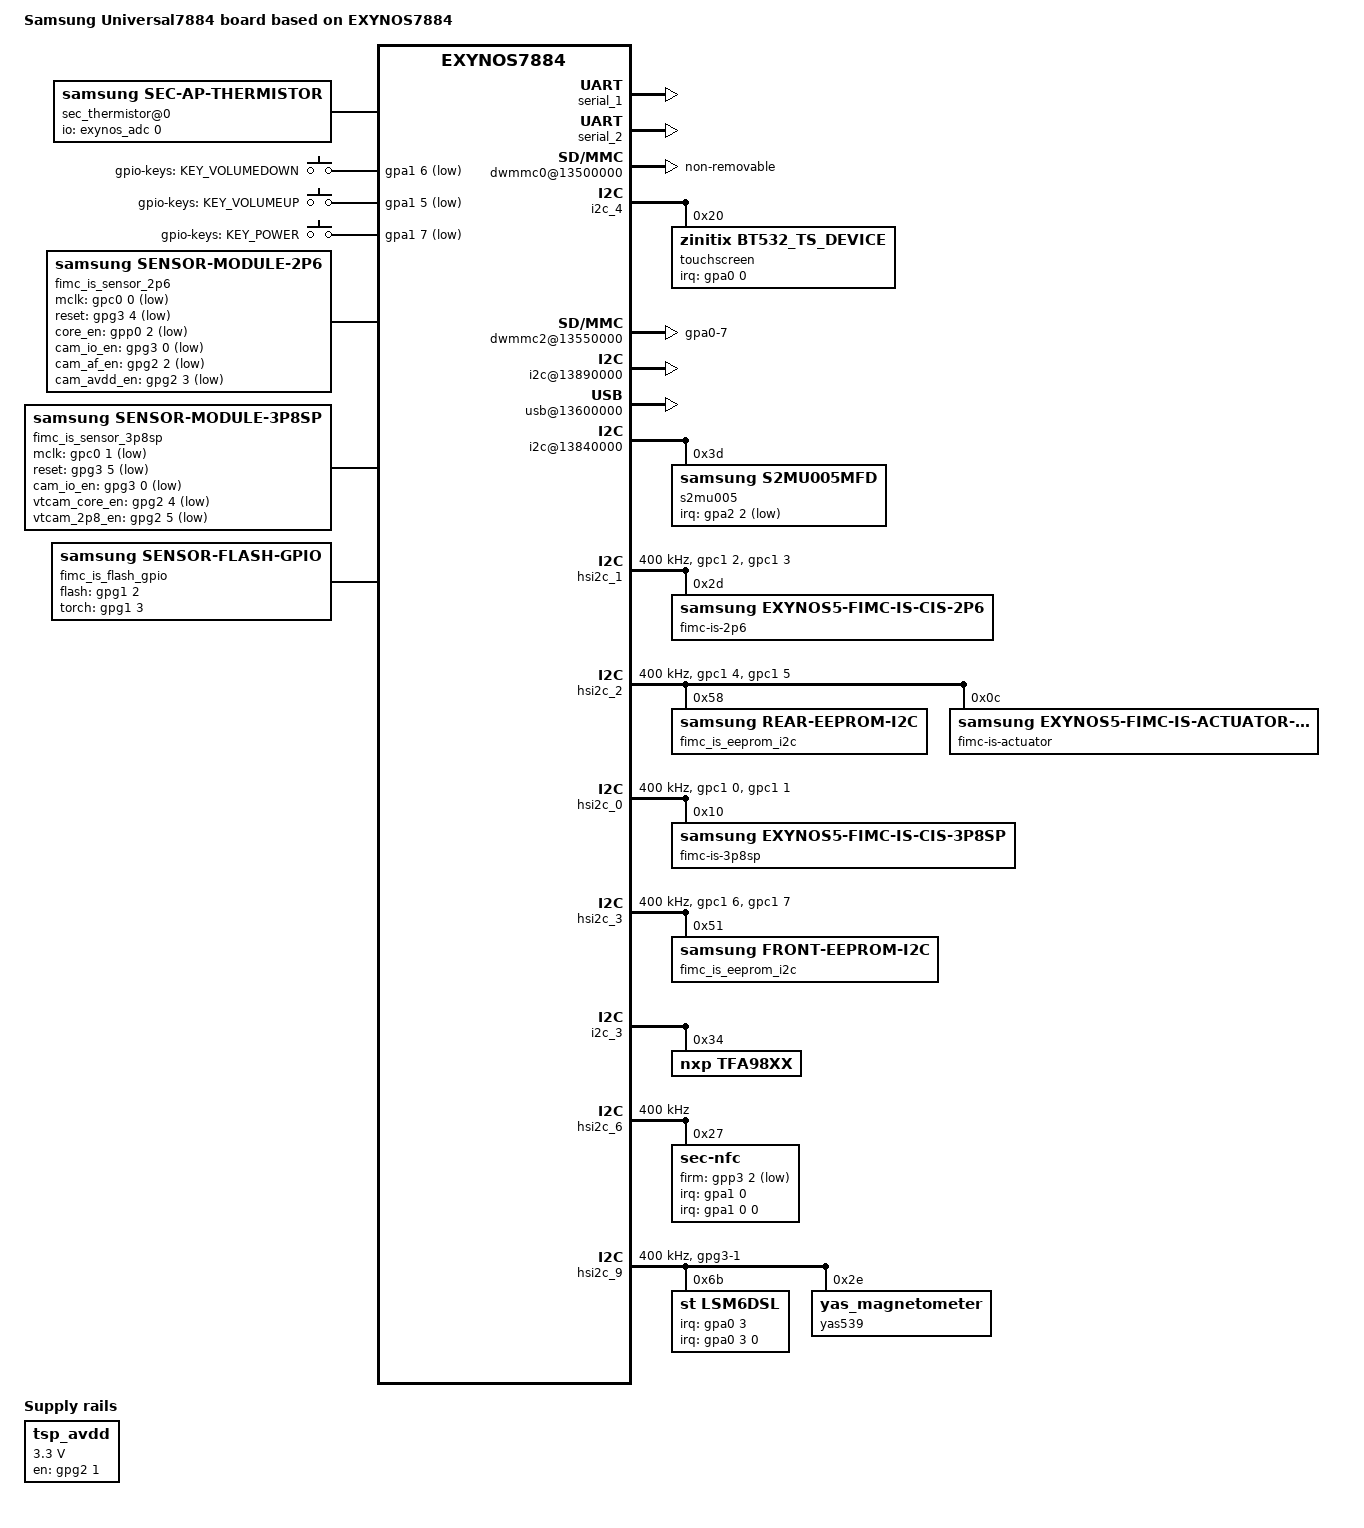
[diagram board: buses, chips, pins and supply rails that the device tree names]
/*
 * SAMSUNG UNIVERSAL7885 board device tree source
 *
 * Copyright (c) 2013 Samsung Electronics Co., Ltd.
 *		http://www.samsung.com
 *
 * This program is free software; you can redistribute it and/or modify
 * it under the terms of the GNU General Public License version 2 as
 * published by the Free Software Foundation.
*/

#include "exynos7884-rmem.dtsi"
#include "exynos7885.dtsi"
#include "display-lcd_a6e_common.dtsi"
#include "modem-s327ap-sipc-pdata.dtsi"
#include "battery_data_a6elte_common.dtsi"
#include "exynos7884-mali.dtsi"
/ {
	model = "Samsung Universal7884 board based on EXYNOS7884";
	compatible = "samsung,exynos7884", "samsung,Universal7884";

	ect {
		parameter_address = <0x90000000>;
		parameter_size = <0x19000>;
	};

	memory@80000000 {
		device_type = "memory";
		reg = <0x0 0x80000000 0x3DA00000>;
	};

	memory@C0000000 {
		device_type = "memory";
		reg = <0x0 0xC0000000 0x40000000>;
	};

	memory@880000000 {
		device_type = "memory";
		reg = <0x00000008 0x80000000 0x0>;
	};

	chosen {
		bootargs = "console=ram root=/dev/ram0 clk_ignore_unused androidboot.hardware=samsungexynos7885 androidboot.selinux=permissive ess_setup=0x86000000 androidboot.debug_level=0x4948";
		linux,initrd-start = <0x84000000>;
		linux,initrd-end = <0x840FFFFF>;
	};

	fixed-rate-clocks {
		oscclk {
			compatible = "samsung,exynos7885-oscclk";
			clock-frequency = <26000000>;
		};
	};

#if (ANDROID_VERSION >= 80000)
	firmware {
		android {
			compatible = "android,firmware";
			fstab {
				compatible = "android,fstab";
				system {
					compatible = "android,system";
					dev = "/dev/block/platform/13500000.dwmmc0/by-name/SYSTEM";
					type = "ext4";
					mnt_flags = "ro";
					fsmgr_flags = "wait,verify";
				};
				vendor {
					compatible = "android,vendor";
					dev = "/dev/block/platform/13500000.dwmmc0/by-name/VENDOR";
					type = "ext4";
					mnt_flags = "ro";
					fsmgr_flags = "wait,verify";
				};
				odm {
					compatible = "android,odm";
					dev = "/dev/block/platform/13500000.dwmmc0/by-name/ODM";
					type = "ext4";
					mnt_flags = "ro";
					fsmgr_flags = "wait,verify";
				};
			};
		};
	};
#endif
	
	/* USI MODE SETTINGS

	usi_mode = "hsi2c0" or "hsi2c1" or "spi" or "uart"
	or "hsi2c0_hsi2c1" or "uart_hsi2c1"
	*/
	usi_0: usi@10032000 {
		usi_mode = "spi";
		status = "okay";
	};

	usi_1: usi@10032004 {
		usi_mode = "hsi2c0";
		status = "okay";
	};

	usi_2: usi@10032008 {
		usi_mode = "hsi2c0_hsi2c1";
		status = "okay";
	};

	serial_1: uart@13810000 {
		status = "okay";
	};

	pinctrl@11CB0000 {
		pmic_irq: pmic-irq {
			samsung,pins = "gpa2-0";
			samsung,pin-pud = <3>;
			samsung,pin-drv = <3>;
		};
	};

	pinctrl@148F0000 {
		aud_fm_bus: aud-fm-bus {
			samsung,pins = "gpb1-1", "gpb1-2", "gpb1-3";
			samsung,pin-function = <0>;
			samsung,pin-pud = <1>;
		};
	};

	pinctrl@139B0000 {
		/* Warm reset information from AP */
		pm_wrsti: pm-wrsti {
			samsung,pins = "gpg1-1";
			samsung,pin-con-pdn = <3>;
		};
		mot_en: mot_enable {
			samsung,pins = "gpp0-3";
			samsung,pin-pud = <1>;
			samsung,pin-drv = <0>;
		};
	};

	but_zones: but_zones {
		#list-but-cells = <3>;
	};

	speedy@11CE0000 {
		status = "okay";
		audio_codec_cod3035x: cod3035x@03 {
		compatible = "codec,cod3035x";
		reg = <0x03>;
		i2c-speedy-address;
		vdd-supply = <&l36_reg>;
		pinctrl-names = "default";
		mic-bias1-voltage = <1>;
		mic-bias2-voltage = <1>;
		mic-bias-ldo-voltage = <3>;
		use-lassenA;
		use-btn-adc-mode;
		dis-ovp-det-mode;
		use-det-gdet-adc-mode = <1>;
		jack-imp-tuning = <9>;
		io-channels = <&exynos_adc 3>,<&exynos_adc 7>;
		io-channel-names = "adc-ear","adc-gdet";
		#io-channel-cells = <1>;
		io-channel-ranges;
		rcv-drv-current = <1>;
		but-zones-list = <&but_zones 226 0 376>,
		<&but_zones 582 377 447>,
		<&but_zones 115 448 627>,
		<&but_zones 114 628 1161>;
		mic-adc-range = <1404>;
		btn-release-value = <1404>;
		};

		s2mpu08mfd@00 {
			compatible = "samsung,s2mpu08mfd";
			acpm-ipc-channel = <2>;
			i2c-speedy-address;
			s2mpu08,wakeup = "enabled";
			s2mpu08,irq-gpio = <&gpa2 0 0>;
			reg = <0x00>;
			interrupts = <2 0 0>;
			interrupt-parent = <&gpa2>;
			pinctrl-names = "default";
			pinctrl-0 = <&pmic_irq &pm_wrsti>;
			/* RTC: wtsr/smpl */
			wtsr_en = "enabled"; /* enable */
			smpl_en = "enabled"; /* enable */
			wtsr_timer_val = <3>;	/* 1000ms */
			smpl_timer_val = <0>;	/* 100ms */
			check_jigon = <0>; /* do not check jigon */
			/* RTC: If it's first boot, reset rtc to 1/1/2018 12:00:00(Mon) */
			init_time,sec = <0>;
			init_time,min = <0>;
			init_time,hour = <12>;
			init_time,mday = <1>;
			init_time,mon = <0>;
			init_time,year = <118>;
			init_time,wday = <1>;

			samsung,codec-interrupt = <&audio_codec_cod3035x>;

			regulators {
				b1_reg: BUCK1 {
					regulator-name = "vdd_mif";
					regulator-min-microvolt = <500000>;
					regulator-max-microvolt = <1100000>;
					regulator-always-on;
					regulator-ramp-delay = <12000>;
					regulator-initial-mode = <2>;
				};

				b2_reg: BUCK2 {
					regulator-name = "vdd_cpucl0";
					regulator-min-microvolt = <500000>;
					regulator-max-microvolt = <1300000>;
					regulator-always-on;
					regulator-ramp-delay = <12000>;
					regulator-initial-mode = <1>;
				};

				b3_reg: BUCK3 {
					regulator-name = "vdd_cpucl1_2";
					regulator-min-microvolt = <500000>;
					regulator-max-microvolt = <1300000>;
					regulator-always-on;
					regulator-ramp-delay = <12000>;
					regulator-initial-mode = <1>;
				};

				b4_reg: BUCK4 {
					regulator-name = "vdd_int";
					regulator-min-microvolt = <500000>;
					regulator-max-microvolt = <1200000>;
					regulator-always-on;
					regulator-ramp-delay = <12000>;
					regulator-initial-mode = <2>;
				};

				b5_reg: BUCK5 {
					regulator-name = "vdd_g3d";
					regulator-min-microvolt = <500000>;
					regulator-max-microvolt = <1300000>;
					regulator-always-on;
					regulator-ramp-delay = <12000>;
					regulator-initial-mode = <1>;
				};

				b6_reg: BUCK6 {
					regulator-name = "vdd2_mem";
					regulator-min-microvolt = <500000>;
					regulator-max-microvolt = <1300000>;
					regulator-always-on;
					regulator-ramp-delay = <12000>;
					regulator-initial-mode = <3>;
				};

				b7_reg: BUCK7 {
					regulator-name = "vdd_lldo";
					regulator-min-microvolt = <1200000>;
					regulator-max-microvolt = <1500000>;
					regulator-always-on;
					regulator-boot-on;
					regulator-ramp-delay = <12000>;
					regulator-initial-mode = <3>;
				};

				b8_reg: BUCK8 {
					regulator-name = "vdd_mldo";
					regulator-min-microvolt = <1800000>;
					regulator-max-microvolt = <2100000>;
					regulator-always-on;
					regulator-ramp-delay = <12000>;
					regulator-initial-mode = <3>;
				};

				l1_reg: LDO1 {
					regulator-name = "vdd_ldo1";
					regulator-min-microvolt = <700000>;
					regulator-max-microvolt = <1300000>;
					regulator-always-on;
					regulator-ramp-delay = <12000>;
					regulator-initial-mode = <3>;
				};

				l2_reg: LDO2 {
					regulator-name = "vqmmc";
					regulator-min-microvolt = <1800000>;
					regulator-max-microvolt = <3375000>;
					regulator-ramp-delay = <12000>;
				};

				l3_reg: LDO3 {
					regulator-name = "vdd_ldo3";
					regulator-min-microvolt = <800000>;
					regulator-max-microvolt = <1950000>;
					regulator-always-on;
					regulator-ramp-delay = <12000>;
					regulator-initial-mode = <3>;
				};

				l4_reg: LDO4 {
					regulator-name = "vdd_ldo4";
					regulator-min-microvolt = <500000>;
					regulator-max-microvolt = <1300000>;
					regulator-always-on;
					regulator-ramp-delay = <12000>;
					regulator-initial-mode = <1>;
				};

				l5_reg: LDO5 {
					regulator-name = "vdd_ldo5";
					regulator-min-microvolt = <800000>;
					regulator-max-microvolt = <1350000>;
					regulator-always-on;
					regulator-ramp-delay = <12000>;
					regulator-initial-mode = <1>;
				};

				l6_reg: LDO6 {
					regulator-name = "vdd_ldo6";
					regulator-min-microvolt = <800000>;
					regulator-max-microvolt = <1350000>;
					regulator-always-on;
					regulator-ramp-delay = <12000>;
					regulator-initial-mode = <1>;
				};

				l7_reg: LDO7 {
					regulator-name = "vdd_ldo7";
					regulator-min-microvolt = <800000>;
					regulator-max-microvolt = <1950000>;
					regulator-always-on;
					regulator-ramp-delay = <12000>;
					regulator-initial-mode = <1>;
				};

				l8_reg: LDO8 {
					regulator-name = "vdd_ldo8";
					regulator-min-microvolt = <500000>;
					regulator-max-microvolt = <1300000>;
					regulator-always-on;
					regulator-ramp-delay = <12000>;
					regulator-initial-mode = <1>;
				};

				l9_reg: LDO9 {
					regulator-name = "vdd_ldo9";
					regulator-min-microvolt = <500000>;
					regulator-max-microvolt = <1300000>;
					regulator-always-on;
					regulator-ramp-delay = <12000>;
					regulator-initial-mode = <1>;
				};

				l10_reg: LDO10 {
					regulator-name = "vdd_ldo10";
					regulator-min-microvolt = <500000>;
					regulator-max-microvolt = <1300000>;
					regulator-always-on;
					regulator-ramp-delay = <12000>;
					regulator-initial-mode = <1>;
				};

				l11_reg: LDO11 {
					regulator-name = "vdd_ldo11";
					regulator-min-microvolt = <500000>;
					regulator-max-microvolt = <1300000>;
					regulator-always-on;
					regulator-ramp-delay = <12000>;
					regulator-initial-mode = <1>;
				};

				l12_reg: LDO12 {
					regulator-name = "vdd_ldo12";
					regulator-min-microvolt = <800000>;
					regulator-max-microvolt = <1350000>;
					regulator-always-on;
					regulator-ramp-delay = <12000>;
					regulator-initial-mode = <1>;
				};

				l13_reg: LDO13 {
					regulator-name = "vdd_ldo13";
					regulator-min-microvolt = <800000>;
					regulator-max-microvolt = <1950000>;
					regulator-always-on;
					regulator-ramp-delay = <12000>;
					regulator-initial-mode = <1>;
				};

				l14_reg: LDO14 {
					regulator-name = "vdd_ldo14";
					regulator-min-microvolt = <1800000>;
					regulator-max-microvolt = <3375000>;
					regulator-always-on;
					regulator-ramp-delay = <12000>;
					regulator-initial-mode = <1>;
				};

				l33_reg: LDO33 {
					regulator-name = "vdd_ldo33";
					regulator-min-microvolt = <800000>;
					regulator-max-microvolt = <1950000>;
					regulator-always-on;
					regulator-ramp-delay = <12000>;
					regulator-initial-mode = <3>;
				};

				l34_reg: LDO34 {
					regulator-name = "vdd_ldo34";
					regulator-min-microvolt = <1800000>;
					regulator-max-microvolt = <3375000>;
					regulator-always-on;
					regulator-ramp-delay = <12000>;
					regulator-initial-mode = <3>;
				};

				l35_reg: LDO35 {
					regulator-name = "vmmc";
					regulator-min-microvolt = <1800000>;
					regulator-max-microvolt = <3000000>;
					regulator-ramp-delay = <12000>;
				};

				l36_reg: LDO36 {
					regulator-name = "vdd_ldo36";
					regulator-min-microvolt = <800000>;
					regulator-max-microvolt = <1950000>;
					regulator-always-on;
					regulator-ramp-delay = <12000>;
					regulator-initial-mode = <3>;
				};

				l37_reg: LDO37 {
					regulator-name = "vdd_ldo37";
					regulator-min-microvolt = <1800000>;
					regulator-max-microvolt = <3375000>;
					regulator-always-on;
					regulator-ramp-delay = <12000>;
					regulator-initial-mode = <3>;
				};
			};
		};
	};

	sec_thermistor@0 {
		compatible = "samsung,sec-ap-thermistor";
		status = "okay";

		adc_array = <246 290 344 407 486 572 665 791 933
			1088 1261 1456 1723 1911 2122 2389 2558
			2787 2966 3135 3261 3404 3504>;
		temp_array = <900 850 800 750 700 650 600 550 500
			450 400 350 300 250 200 150 100
			50 0 (-50) (-100) (-150) (-200)>;
		io-channels = <&exynos_adc 0>;
		io-channel-names = "adc-ap-temp";
		io-channel-ranges;
	};

	exynos_rgt {
		compatible = "samsung,exynos-rgt";
	};

	serial_2: uart@13820000 {
		samsung,uart-logging;
		status = "okay";
	};

	pinctrl@11CB0000 {
		dwmmc2_cd_ext_irq: dwmmc2_cd_ext_irq {
			samsung,pins = "gpa0-7";
			samsung,pin-function = <0xf>;
			samsung,pin-pud = <0>;
			samsung,pin-drv = <3>;
		};
	};

	dwmmc0@13500000 {
		status = "okay";
		num-slots = <1>;
		broken-cd;
		fixed_voltage;
		supports-highspeed;
		mmc-ddr-1_8v;
		mmc-hs200-1_8v;
		mmc-hs400-1_8v;
		supports-8bit;
		supports-cmd23;
		supports-erase;
		supports-hs400-enhanced-strobe;
		card-init-hwacg-ctrl;
		support-cmdq;
		qos-dvfs-level = <100000>;
		fifo-depth = <0x40>;
		non-removable;
		desc-size = <4>;
		card-detect-delay = <200>;
		samsung,dw-mshc-ciu-div = <3>;
		samsung,dw-mshc-txdt-crc-timer-fastlimit = <0x13>;
		samsung,dw-mshc-txdt-crc-timer-initval = <0x15>;
		samsung,dw-mshc-hs400-delay-line = <0x60>;
		samsung,dw-mshc-sdr-timing = <3 0 4 0>;
		samsung,dw-mshc-ddr-timing = <3 0 4 2>;
		samsung,dw-mshc-hs200-timing = <3 0 3 0>;
		samsung,dw-mshc-hs400-timing = <1 0 2 0>;
		samsung,dw-mshc-hs400-ulp-timing = <3 0 2 0>;

		num-ref-clks = <12>;
		ciu_clkin = <25 50 50 25 50 100 200 50 50 200 200 200>;

		/* Swapping clock drive strength */
		clk-drive-number = <4>;
		pinctrl-names = "default",
			"fast-slew-rate-1x",
			"fast-slew-rate-2x",
			"fast-slew-rate-3x",
			"fast-slew-rate-4x";
		pinctrl-0 = <&sd0_clk &sd0_cmd &sd0_rdqs &sd0_bus1 &sd0_bus4 &sd0_bus8>;
		pinctrl-1 = <&sd0_clk_fast_slew_rate_1x>;
		pinctrl-2 = <&sd0_clk_fast_slew_rate_2x>;
		pinctrl-3 = <&sd0_clk_fast_slew_rate_3x>;
		pinctrl-4 = <&sd0_clk_fast_slew_rate_4x>;
		slot@0 {
			reg = <0>;
			bus-width = <8>;
		};

	};

	dwmmc1@13510000 {
		status = "disabled";
		num-slots = <1>;
		channel = <1>;
		fixed_voltage;
		enable-cclk-on-suspend;
		caps-control;
		supports-highspeed;
		supports-4bit;
		keep-power-in-suspend;
		pm-ignore-notify;
		card-detect-type-external;
		use-broken-voltage;
		fifo-depth = <0x40>;
		card-detect-delay = <200>;
		qos-dvfs-level = <100000>;
		data-timeout = <200>;
		hto-timeout = <80>;
		samsung,dw-mshc-ciu-div = <3>;
		samsung,dw-mshc-sdr-timing = <3 0 2 0>;
		samsung,dw-mshc-ddr-timing = <3 0 2 1>;
		samsung,dw-mshc-sdr50-timing = <3 0 4 2>;
		samsung,dw-mshc-sdr104-timing = <3 0 3 0>;

		num-ref-clks = <9>;
		ciu_clkin = <25 50 50 25 50 100 200 50 50>;

		clk-drive-number = <4>;
		pinctrl-names = "default",
			"fast-slew-rate-1x",
			"fast-slew-rate-2x",
			"fast-slew-rate-3x",
			"fast-slew-rate-4x";
		pinctrl-0 = <&sd1_clk &sd1_cmd &sd1_bus1 &sd1_bus4>;
		pinctrl-1 = <&sd1_clk_fast_slew_rate_1x>;
		pinctrl-2 = <&sd1_clk_fast_slew_rate_2x>;
		pinctrl-3 = <&sd1_clk_fast_slew_rate_3x>;
		pinctrl-4 = <&sd1_clk_fast_slew_rate_4x>;
		slot@0 {
			reg = <0>;
			bus-width = <4>;
		};
	};

	pinctrl@139B0000 {
		i2c4_bus: i2c4-bus {
			samsung,pins = "gpp4-1", "gpp4-0";
			samsung,pin-function = <2>;
			samsung,pin-pud = <0>;
			samsung,pin-drv = <0>;
		};
		i2c_on: i2c-on {
			samsung,pins = "gpp4-1", "gpp4-0";
			samsung,pin-function = <2>;
			samsung,pin-pud = <0>;
			samsung,pin-drv = <0>;
		};
		i2c_off: i2c-off {
			samsung,pins = "gpp4-1", "gpp4-0";
			samsung,pin-function = <2>;
			samsung,pin-pud = <1>;
			samsung,pin-drv = <0>;
		};
	};

	pinctrl@11CB0000 {
		attn_irq: attn-irq {
			samsung,pins = "gpa0-0";
			samsung,pin-function = <0xf>;
			samsung,pin-pud = <0>;
			samsung,pin-drv = <0>;
		};
		attn_input: attn-input {
			samsung,pins = "gpa0-0";
			samsung,pin-function = <0>;
			samsung,pin-pud = <0>;
		};
	};

	tsp_avdd {
		compatible = "regulator-fixed";
		regulator-name = "tsp_avdd";
		regulator-min-microvolt = <3300000>;
		regulator-max-microvolt = <3300000>;
		gpio = <&gpg2 1 0>;
		enable-active-high;
		regulator-boot-on;
	};

	i2c_4: i2c@13870000 {
		samsung,i2c-sda-delay = <100>;
		samsung,i2c-max-bus-freq = <400000>;
		status = "okay";
		touchscreen@20 {
			compatible = "zinitix,bt532_ts_device";
			reg = <0x20>;
			pinctrl-names = "on_state", "off_state";
			pinctrl-0 = <&attn_irq>;
			pinctrl-1 = <&attn_input>;
			zinitix,irq_gpio = <&gpa0 0 0>;
			zinitix,gpio_ldo_en;
			zinitix,regulator_avdd = "tsp_avdd";
			zinitix,x_resolution = <720>;
			zinitix,y_resolution = <1480>;
			zinitix,page_size = <128>;
			zinitix,chip_name = "ZT7548";
			zinitix,firmware_name = "tsp_zinitix/zt7548_a6.fw";
			zinitix,spay;
			/* zinitix,aod = "true"; */
			zinitix,tclm_level = <0x02>;
			zinitix,afe_base = <0x800D>;
			zinitix,mis_cal_check;
			zinitix,factory_item_version = <2>;
		};
	};

	pinctrl@139B0000 {
		fimc_is_flash_host: fimc-is-flash-host {
			samsung,pins = "gpg1-2", "gpg1-3"; /* cam_flash_en, cam_torch_en */
			samsung,pin-function = <1>; /* 0: input, 1:output*/
			samsung,pin-pud = <0>; /* 0: NP, 1: PD, 2: reserved 3:PU */
			samsung,pin-drv = <0>;
		};
		fimc_is_flash_is: fimc-is-flash-is {
			samsung,pins = "gpg1-2", "gpg1-3"; /* cam_flash_en, cam_torch_en */
			samsung,pin-function = <0>; /* 0: input, 1:output*/
			samsung,pin-pud = <1>; /* 0: NP, 1: PD, 2: reserved 3:PU */
			samsung,pin-drv = <0>;
		};
	};

	dwmmc2@13550000 {
		status = "okay";
		num-slots = <1>;
		supports-4bit;
		supports-cmd23;
		supports-erase;
		supports-highspeed;
		sd-uhs-sdr50;
		sd-uhs-sdr104;
		card-detect-gpio;
		bypass-for-allpass;
		card-init-hwacg-ctrl;
		skip-init-mmc-scan;
		qos-dvfs-level = <100000>;
		qos-sd3-dvfs-level = <267000>;
		fifo-depth = <0x40>;
		desc-size = <4>;
		card-detect-delay = <200>;
		data-timeout = <200>;
		hto-timeout = <80>;
		samsung,dw-mshc-ciu-div = <3>;
		clock-frequency = <800000000>;
		samsung,dw-mshc-sdr-timing = <3 0 2 0>;
		samsung,dw-mshc-ddr-timing = <3 0 2 1>;
		samsung,dw-mshc-sdr50-timing = <3 0 4 2>;
		samsung,dw-mshc-sdr104-timing = <3 0 3 0>;

		num-ref-clks = <9>;
		ciu_clkin = <25 50 50 25 50 100 200 50 50>;

		/* Swapping clock drive strength */
		clk-drive-number = <4>;
		pinctrl-names = "default",
			"fast-slew-rate-1x",
			"fast-slew-rate-2x",
			"fast-slew-rate-3x",
			"fast-slew-rate-4x";
		pinctrl-0 = <&sd2_clk &sd2_cmd &sd2_bus1 &sd2_bus4 &dwmmc2_cd_ext_irq>;
		pinctrl-1 = <&sd2_clk_fast_slew_rate_1x>;
		pinctrl-2 = <&sd2_clk_fast_slew_rate_2x>;
		pinctrl-3 = <&sd2_clk_fast_slew_rate_3x>;
		pinctrl-4 = <&sd2_clk_fast_slew_rate_4x>;

		card-detect = <&gpa0 7 0xf>;
		sec-sd-slot-type = <2>; /* Hybrid Tray SD slot */

		slot@0 {
			reg = <0>;
			bus-width = <4>;
			disable-wp;
		};

	};

	i2c@13890000 {
		status = "okay";
 		#address-cells = <1>;
		#size-cells = <0>;
	};

	pinctrl@11CB0000 {
		key_power: key-power {
			samsung,pins = "gpa1-7";
			samsung,pin-function = <0xf>;
			samsung,pin-pud = <0>;
			samsung,pin-drv = <0>;
		};

		key_voldown: key-voldown {
			samsung,pins = "gpa1-6";
			samsung,pin-function = <0xf>;
			samsung,pin-pud = <0>;
			samsung,pin-drv = <0>;
		};

		key_volup: key-volup {
			samsung,pins = "gpa1-5";
			samsung,pin-function = <0xf>;
			samsung,pin-pud = <0>;
			samsung,pin-drv = <0>;
		};
	};

	gpio_keys {
		status = "okay";
		compatible = "gpio-keys";
		#address-cells = <1>;
		#size-cells = <0>;
		pinctrl-names = "default";
		pinctrl-0 = <&key_voldown &key_volup &key_power>;
		button@1 {
			label = "gpio-keys: KEY_VOLUMEDOWN";
			interrupts = <6 0 0>;
			interrupt-parent = <&gpa1>;
			linux,code = <114>;
			gpios = <&gpa1 6 0xf>;
		};
		button@2 {
			label = "gpio-keys: KEY_VOLUMEUP";
			interrupts = <5 0 0>;
			interrupt-parent = <&gpa1>;
			linux,code = <115>;
			gpios = <&gpa1 5 0xf>;
		};
		button@3 {
			label = "gpio-keys: KEY_POWER";
			interrupts = <7 0 0>;
			interrupt-parent = <&gpa1>;
			linux,code = <116>;
			gpios = <&gpa1 7 0xf>;
			gpio-key,wakeup = <1>;
		};

	};

	usb@13600000 {
		status = "okay";
		dwc3 {
			dr_mode = "otg";
			maximum-speed = "high-speed";
			snps,quirk-frame-length-adjustment = <0x20>;
		};
	};

	phy@135D0000 {
		status = "okay";
		hs_tune_param = <&usb_hs_tune>;
	};

	usb_hs_tune:hs_tune {
		hs_tune_cnt = <12>;

		/* value = <device host> */
		hs_tune1 {
			tune_name = "tx_vref";
			tune_value = <0xd 0x1>;
		};

		hs_tune2 {
			tune_name = "tx_pre_emp";
			tune_value = <0x3 0x3>;
		};

		hs_tune3 {
			tune_name = "tx_pre_emp_plus";
			tune_value = <0x0 0x0>;
		};

		hs_tune4 {
			tune_name = "tx_res";
			tune_value = <0x3 0x3>;
		};

		hs_tune5 {
			tune_name = "tx_rise";
			tune_value = <0x3 0x3>;
		};

		hs_tune6 {
			tune_name = "tx_hsxv";
			tune_value = <0x3 0x3>;
		};

		hs_tune7 {
			tune_name = "tx_fsls";
			tune_value = <0x3 0x3>;
		};

		hs_tune8 {
			tune_name = "rx_sqrx";
			tune_value = <0x7 0x7>;
		};

		hs_tune9 {
			tune_name = "compdis";
			tune_value = <0x7 0x7>;
		};

		hs_tune10 {
			tune_name = "otg";
			tune_value = <0x2 0x2>;
		};

		hs_tune11 {
		/* true : 1, false: 0 */
		/* <enable_user_imp user_imp_value> */
			tune_name = "enable_user_imp";
			tune_value = <0x0 0x0>;
		};

		hs_tune12 {
		/* PHY clk : 1 , FREE clk : 0 */
			tune_name = "is_phyclock";
			tune_value = <0x1 0x1>;
		};
	};

	mailbox_cp: mcu_ipc@12080000 {
		compatible = "samsung,exynos-shd-ipc-mailbox";
		reg = <0x0 0x12080000 0x180>;
		mcu,name = "mcu_ipc_cp";
		mcu,id = <0>;
		mcu,irq_affinity_mask = <3>;
		interrupts = <0 55 0 >; /* MAILBOX_CP_TO_AP SPI Number */
	};

	/* USIM DETECTION FOR CP */
	usim_det {
		pinctrl-names = "default";
		pinctrl-0 = <&sim0_det_gpio>;
		mif,num_of_usim_det = <1>;
		mif,usim-det0-gpio = <&gpa2 6 0>;
	};

	mailbox_gnss: mcu_ipc@120D0000 {
		compatible = "samsung,exynos-shd-ipc-mailbox";
		reg = <0x0 0x120D0000 180>;
		mcu,name = "mcu_ipc_gnss";
		mcu,id = <1>;
		interrupts = <GIC_SPI 56 IRQ_TYPE_NONE>;
	};

	gnss_pdata {
		status = "okay";

		compatible = "samsung,gnss_shdmem_if";
		shmem,name = "KEPLER";
		shmem,device_node_name = "gnss_ipc";

		/* ACTIVE WATCHDOG WAKEUP */
		interrupts = <GIC_SPI 20 IRQ_TYPE_NONE>,
			     <GIC_SPI 165 IRQ_TYPE_NONE>,
			     <GIC_SPI 164 IRQ_TYPE_NONE>;
		interrupt-names = "ACTIVE", "WATCHDOG", "WAKEUP";

		memory-region = <&gnss_reserved>;
		mbox_info = <&mailbox_gnss>;

		mbx,int_ap2gnss_bcmd = <0>;
		mbx,int_ap2gnss_req_fault_info = <1>;
		mbx,int_ap2gnss_ipc_msg = <2>;
		mbx,int_ap2gnss_ack_wake_set = <3>;
		mbx,int_ap2gnss_ack_wake_clr = <4>;

		mbx,irq_gnss2ap_bcmd = <0>;
		mbx,irq_gnss2ap_rsp_fault_info = <1>;
		mbx,irq_gnss2ap_ipc_msg = <2>;
		mbx,irq_gnss2ap_req_wake_clr = <4>;

		mbx,reg_bcmd_ctrl = <0>, <1>, <2>, <3>;

		reg_rx_ipc_msg = <1 5>;
		reg_tx_ipc_msg = <1 4>;
		reg_rx_head = <1 3>;
		reg_rx_tail = <1 2>;
		reg_tx_head = <1 1>;
		reg_tx_tail = <1 0>;
		fault_info = <1 0x200000 0x180000>;

		shmem,ipc_offset = <0x380000>;
		shmem,ipc_size = <0x80000>;
		shmem,ipc_reg_cnt = <32>;

		/* Use the following value when can't boot with mailbox */
		shmem,boot_without_mbox = <1>; /* Default : 0 */
	};

	usb_notifier {
		compatible = "samsung,usb-notifier";
		udc = <&udc>;
	};

	i2c@13840000{
		status = "okay";
		s2mu005@3D {
			status = "okay";
			compatible = "samsung,s2mu005mfd";
			reg = <0x3D>;
			pinctrl-names = "default";
			pinctrl-0 = <&if_pmic_irq>;
			s2mu005,irq-gpio = <&gpa2 2 1>;
			s2mu005,wakeup;

			leds {
				flash-gpio = <&gpg1 2 0>;
				torch-gpio = <&gpg1 3 0>;

				flash_current = <1200>;
				preflash_current = <150>;
				movie_current = <175>; /*unused*/
				torch_current = <75>;
				factory_current = <300>;
				front_torch_current = <100>;

				status = "okay";
				s2mu005-leds1 {
					ledname = "leds-sec1";
					id = <0>;
					timeout = <15>; /* use gpio */
				};

				s2mu005-leds2 {
					ledname = "leds-sec2";
					id = <1>;
					timeout = <15>; /* use gpio */
				};
			};
		};
	};

	fimc_is@14440000 {
		pinctrl-names = "default","release";
		pinctrl-0 = <&fimc_is_mclk0_out &fimc_is_mclk1_out &fimc_is_mclk2_out>;
		pinctrl-1 = <>;

		vender {
			rear_sensor_id = <58>; /* SENSOR_NAME_S5K2P6 */
			front_sensor_id = <44>; /* SENSOR_NAME_S5K3P8SP */
			//use_module_check;
			//check_sensor_vendor;
			//skip_cal_loading;

			max_camera_num = <2>;
			camera_info0 {				// 0 : rear - S5K2P6
				isp = <0>;			/* 0 : INT , 1 : EXT , 2 : SOC */
				cal_memory = <2>;		/* 0 : N , 1 : FROM , 2 : EEPROM , 3 : OTP  */
				read_version = <0>;		/* 0 : SYSFS , 1 : CAMON */
				core_voltage = <0>;		/* 0 : N , 1 : Y  */
				upgrade = <0>;			/* 0 : N , 1 : SYSFS , 2 : CAMON */
				companion = <0>;		/* 0 : N , 1 : Y  */
				ois = <0>;			/* 0 : N , 1 : Y  */
				valid = <1>;			/* 0 : INVALID, 1 : VALID */
			};
			camera_info1 {				// 1 : front1 - 3P8SP
				isp = <0>;			/* 0 : INT , 1 : EXT , 2 : SOC */
				cal_memory = <2>;		/* 0 : N , 1 : FROM , 2 : EEPROM , 3 : OTP  */
				read_version = <0>;		/* 0 : SYSFS , 1 : CAMON */
				core_voltage = <0>;		/* 0 : N , 1 : Y  */
				upgrade = <0>;			/* 0 : N , 1 : SYSFS , 2 : CAMON */
				companion = <0>;		/* 0 : N , 1 : Y  */
				ois = <0>;			/* 0 : N , 1 : Y  */
				valid = <1>;			/* 0 : INVALID, 1 : VALID */
			};
		};

		fimc_is_dvfs {
			/* TODO: DVFS level set */
			#define DVFS_INT_L0 533000
			#define DVFS_INT_L1 333000
			#define DVFS_INT_L2 267000
			#define DVFS_INT_L3 133000
			#define DVFS_INT_L4 107000

			#define DVFS_CAM_L0 690000
			#define DVFS_CAM_L1 680000
			#define DVFS_CAM_L2 670000
			#define DVFS_CAM_L3 660000
			#define DVFS_CAM_L4 650000

			#define DVFS_MIF_L0 2093000
			#define DVFS_MIF_L1 2002000
			#define DVFS_MIF_L2 1794000
			#define DVFS_MIF_L3 1539000
			#define DVFS_MIF_L4 1352000
			#define DVFS_MIF_L5 1014000
			#define DVFS_MIF_L6 845000
			#define DVFS_MIF_L7 676000
			#define DVFS_MIF_L8 546000
			#define DVFS_MIF_L9 420000

			table0 {
				desc = "default";

				default_int = <DVFS_INT_L0>;
				default_cam = <DVFS_CAM_L0>;
				default_mif = <DVFS_MIF_L0>;
				default_i2c = <0>;

				front_preview_int = <DVFS_INT_L4>;
				front_preview_cam = <DVFS_CAM_L2>;
				front_preview_mif = <DVFS_MIF_L3>;
				front_preview_i2c = <0>;

				front_capture_int = <DVFS_INT_L4>;
				front_capture_cam = <DVFS_CAM_L2>;
				front_capture_mif = <DVFS_MIF_L3>;
				front_capture_i2c = <0>;

				front_video_int = <DVFS_INT_L4>;
				front_video_cam = <DVFS_CAM_L2>;
				front_video_mif = <DVFS_MIF_L3>;
				front_video_i2c = <0>;

				front_vt1_int = <DVFS_INT_L4>;
				front_vt1_cam = <DVFS_CAM_L2>;
				front_vt1_mif = <DVFS_MIF_L7>;
				front_vt1_i2c = <0>;

				front_vt2_int = <DVFS_INT_L4>;
				front_vt2_cam = <DVFS_CAM_L2>;
				front_vt2_mif = <DVFS_MIF_L7>;
				front_vt2_i2c = <0>;

				front_vt4_int = <DVFS_INT_L4>;
				front_vt4_cam = <DVFS_CAM_L2>;
				front_vt4_mif = <DVFS_MIF_L7>;
				front_vt4_i2c = <0>;

				rear_preview_fhd_int = <DVFS_INT_L4>;
				rear_preview_fhd_cam = <DVFS_CAM_L2>;
				rear_preview_fhd_mif = <DVFS_MIF_L2>;
				rear_preview_fhd_i2c = <0>;

				rear_capture_int = <DVFS_INT_L4>;
				rear_capture_cam = <DVFS_CAM_L1>;
				rear_capture_mif = <DVFS_MIF_L2>;
				rear_capture_i2c = <0>;

				rear_video_fhd_int = <DVFS_INT_L4>;
				rear_video_fhd_cam = <DVFS_CAM_L2>;
				rear_video_fhd_mif = <DVFS_MIF_L2>;
				rear_video_fhd_i2c = <0>;

				rear_video_uhd_int = <DVFS_INT_L4>;
				rear_video_uhd_cam = <DVFS_CAM_L2>;
				rear_video_uhd_mif = <DVFS_MIF_L2>;
				rear_video_uhd_i2c = <0>;

				rear_video_fhd_capture_int = <DVFS_INT_L4>;
				rear_video_fhd_capture_cam = <DVFS_CAM_L1>;
				rear_video_fhd_capture_mif = <DVFS_MIF_L2>;
				rear_video_fhd_capture_i2c = <0>;

				rear_video_uhd_capture_int = <DVFS_INT_L4>;
				rear_video_uhd_capture_cam = <DVFS_CAM_L1>;
				rear_video_uhd_capture_mif = <DVFS_MIF_L2>;
				rear_video_uhd_capture_i2c = <0>;

				preview_high_speed_fps_int = <DVFS_INT_L4>;
				preview_high_speed_fps_cam = <DVFS_CAM_L2>;
				preview_high_speed_fps_mif = <DVFS_MIF_L5>;
				preview_high_speed_fps_i2c = <0>;

				video_high_speed_60fps_int = <DVFS_INT_L4>;
				video_high_speed_60fps_cam = <DVFS_CAM_L2>;
				video_high_speed_60fps_mif = <DVFS_MIF_L5>;
				video_high_speed_60fps_i2c = <0>;

				video_high_speed_120fps_int = <DVFS_INT_L4>;
				video_high_speed_120fps_cam = <DVFS_CAM_L2>;
				video_high_speed_120fps_mif = <DVFS_MIF_L5>;
				video_high_speed_120fps_i2c = <0>;

				max_int = <DVFS_INT_L0>;
				max_cam = <DVFS_CAM_L0>;
				max_mif = <DVFS_MIF_L0>;
				max_i2c = <0>;
			};

			table1 {
				desc = "DVFS table for HAL3";

				default_int = <DVFS_INT_L0>;
				default_cam = <DVFS_CAM_L0>;
				default_mif = <DVFS_MIF_L0>;
				default_i2c = <0>;

				front_preview_int = <DVFS_INT_L4>;
				front_preview_cam = <DVFS_CAM_L2>;
				front_preview_mif = <DVFS_MIF_L3>;
				front_preview_i2c = <0>;

				front_capture_int = <DVFS_INT_L4>;
				front_capture_cam = <DVFS_CAM_L2>;
				front_capture_mif = <DVFS_MIF_L3>;
				front_capture_i2c = <0>;

				front_video_int = <DVFS_INT_L4>;
				front_video_cam = <DVFS_CAM_L2>;
				front_video_mif = <DVFS_MIF_L3>;
				front_video_i2c = <0>;

				front_vt1_int = <DVFS_INT_L4>;
				front_vt1_cam = <DVFS_CAM_L2>;
				front_vt1_mif = <DVFS_MIF_L7>;
				front_vt1_i2c = <0>;

				front_vt2_int = <DVFS_INT_L4>;
				front_vt2_cam = <DVFS_CAM_L2>;
				front_vt2_mif = <DVFS_MIF_L7>;
				front_vt2_i2c = <0>;

				front_vt4_int = <DVFS_INT_L4>;
				front_vt4_cam = <DVFS_CAM_L2>;
				front_vt4_mif = <DVFS_MIF_L7>;
				front_vt4_i2c = <0>;

				rear_preview_fhd_int = <DVFS_INT_L4>;
				rear_preview_fhd_cam = <DVFS_CAM_L2>;
				rear_preview_fhd_mif = <DVFS_MIF_L2>;
				rear_preview_fhd_i2c = <0>;

				rear_capture_int = <DVFS_INT_L4>;
				rear_capture_cam = <DVFS_CAM_L1>;
				rear_capture_mif = <DVFS_MIF_L2>;
				rear_capture_i2c = <0>;

				rear_video_fhd_int = <DVFS_INT_L4>;
				rear_video_fhd_cam = <DVFS_CAM_L2>;
				rear_video_fhd_mif = <DVFS_MIF_L2>;
				rear_video_fhd_i2c = <0>;

				rear_video_uhd_int = <DVFS_INT_L4>;
				rear_video_uhd_cam = <DVFS_CAM_L2>;
				rear_video_uhd_mif = <DVFS_MIF_L2>;
				rear_video_uhd_i2c = <0>;

				rear_video_fhd_capture_int = <DVFS_INT_L4>;
				rear_video_fhd_capture_cam = <DVFS_CAM_L1>;
				rear_video_fhd_capture_mif = <DVFS_MIF_L2>;
				rear_video_fhd_capture_i2c = <0>;

				rear_video_uhd_capture_int = <DVFS_INT_L4>;
				rear_video_uhd_capture_cam = <DVFS_CAM_L1>;
				rear_video_uhd_capture_mif = <DVFS_MIF_L2>;
				rear_video_uhd_capture_i2c = <0>;

				preview_high_speed_fps_int = <DVFS_INT_L4>;
				preview_high_speed_fps_cam = <DVFS_CAM_L2>;
				preview_high_speed_fps_mif = <DVFS_MIF_L5>;
				preview_high_speed_fps_i2c = <0>;

				video_high_speed_60fps_int = <DVFS_INT_L4>;
				video_high_speed_60fps_cam = <DVFS_CAM_L2>;
				video_high_speed_60fps_mif = <DVFS_MIF_L5>;
				video_high_speed_60fps_i2c = <0>;

				video_high_speed_120fps_int = <DVFS_INT_L4>;
				video_high_speed_120fps_cam = <DVFS_CAM_L2>;
				video_high_speed_120fps_mif = <DVFS_MIF_L5>;
				video_high_speed_120fps_i2c = <0>;

				max_int = <DVFS_INT_L0>;
				max_cam = <DVFS_CAM_L0>;
				max_mif = <DVFS_MIF_L0>;
				max_i2c = <0>;
			};
		};
	};

	fimc_is_sensor_2p6: fimc-is_sensor_2p6@5A {
		compatible = "samsung,sensor-module-2p6";

		pinctrl-names = "default", "pin1", "pin2", "release";
		pinctrl-0 = <&fimc_is_mclk0_out>;
		pinctrl-1 = <&fimc_is_mclk0_out>;
		pinctrl-2 = <&fimc_is_mclk0_fn>;
		pinctrl-3 = <>;

		//use_pdaf; /* when USE_AP_PDAF is enabled, use for pdaf sensor */

		position = <0>;	/* Rear:0. Front:1 */
		id = <0>; /* bns_id */
		mclk_ch = <0>;
		//sensor_i2c_ch = <0>;
		//sensor_i2c_addr = <0x2D>;

		gpio_mclk = <&gpc0 0 0x1>;
		gpio_reset = <&gpg3 4 0x1>; /* sensor reset */
		gpio_core_en = <&gpp0 2 0x1>; /* CAM_LDO_EN */
		gpio_cam_io_en = <&gpg3 0 0x1>; /* CAM_IO_LDO_EN */
		gpio_cam_af_en = <&gpg2 2 0x1>; /* CAM_AF_2P8_EN */
		gpio_cam_avdd_en = <&gpg2 3 0x1>; /* CAM_A2P8_EN */

		status = "okay";

		af {
			product_name = <20>; /* ACTUATOR_NAME_ZC535 */
			i2c_addr = <0x18>;
			i2c_ch = <3>;
		};

		flash {
			product_name = <11>; /* S2MU005: FLASH_GPIO */
			flash_first_gpio = <2>; /* DICO not use first, second gpio value */
			flash_second_gpio = <1>;
		};
	};

	fimc_is_sensor_3p8sp: fimc-is_sensor_3p8sp@10 {
		compatible = "samsung,sensor-module-3p8sp";

		pinctrl-names = "default", "pin1", "pin2", "release";
		pinctrl-0 = <&fimc_is_mclk1_out>;
		pinctrl-1 = <&fimc_is_mclk1_out>;
		pinctrl-2 = <&fimc_is_mclk1_fn>;
		pinctrl-3 = <>;

		position = <1>;	/* Rear:0. Front:1 */
		id = <1>; /* bns_id */
		mclk_ch = <1>;
		//sensor_i2c_ch = <1>;
		//sensor_i2c_addr = <0x10>;

		gpio_mclk = <&gpc0 1 0x1>;
		gpio_reset = <&gpg3 5 0x1>;	/* sensor reset */
		gpio_cam_io_en = <&gpg3 0 0x1>; /* CAM_IO_LDO_EN */
		gpio_vtcam_core_en = <&gpg2 4 0x1>; /* VTCAM_CORE_1P05_EN */
		gpio_vtcam_2p8_en = <&gpg2 5 0x1>; /* VTCAM_A2P8_EN */
		status = "okay";
	};

	#define SENSOR_SCENARIO_NORMAL		0
	#define SENSOR_SCENARIO_VISION		1
	#define SENSOR_SCENARIO_EXTERNAL	2
	#define SENSOR_SCENARIO_OIS_FACTORY	3
	#define SENSOR_SCENARIO_VIRTUAL		9
	#define FLITE_ID_NOTHING 100

	fimc_is_sensor0: fimc_is_sensor@14410000 {
		scenario = <SENSOR_SCENARIO_NORMAL>;	/* Normal, Vision, OIS etc */
		id = <0>;
		csi_ch = <1>;
		flite_ch = <FLITE_ID_NOTHING>;
		is_bns = <0>;
		is_flite = <0>;
		status = "okay";

		//use_ssvc1_internal; /* not use pdaf in A6E project */
	};

	fimc_is_sensor1: fimc_is_sensor@14400000 {
		scenario = <SENSOR_SCENARIO_NORMAL>;	/* Normal, Vision, OIS etc */
		id = <1>;
		csi_ch = <0>;
		flite_ch = <FLITE_ID_NOTHING>;
		is_bns = <0>;
		is_flite = <0>;
		status = "okay";
	};

	fimc_is_flash_gpio: fimc-is-flash_gpio@0 {
		compatible = "samsung,sensor-flash-gpio";
		id = <0>; /* Rear  */
		status = "okay";

		flash-gpio = <&gpg1 2 0>;
		torch-gpio = <&gpg1 3 0>;
	};

	hsi2c_1: hsi2c@138B0000 {
		gpios = <&gpc1 2 0 &gpc1 3 0>;
		status = "okay";
		clock-frequency = <400000>;
		samsung,scl-extended-low-period;

		pinctrl-names = "on_i2c";
		pinctrl-0 = <&hs_i2c1_bus>;

		fimc-is-2p6@5A {
			compatible = "samsung,exynos5-fimc-is-cis-2p6";
			reg = <0x2d>; /* 1 bit right shift */
			id = <0>; /* matching sensor id */
			sensor_f_number = <170>; /* f number 1.7 */
			setfile = "setB";

			//use_pdaf; /* when USE_AP_PDAF is enabled, use for pdaf sensor */
		};
	};

	hsi2c_2: hsi2c@138C0000 {
		gpios = <&gpc1 4 0 &gpc1 5 0>;
		status = "okay";
		clock-frequency = <400000>;
		samsung,scl-extended-low-period;

		pinctrl-names = "default";
		pinctrl-0 = <&hs_i2c2_bus>;

		fimc_is_eeprom_i2c@B0 {
			compatible = "samsung,rear-eeprom-i2c";
			reg = <0x58>; /* 7bit-addr */
		};

		fimc-is-actuator@0C {
			compatible = "samsung,exynos5-fimc-is-actuator-zc535";
			reg = <0x0C>;
			id = <0>; /* matching sensor id */
		};
	};

	hsi2c_0: hsi2c@138A0000 {
		gpios = <&gpc1 0 0 &gpc1 1 0>;
		status = "okay";
		clock-frequency = <400000>;
		samsung,scl-extended-low-period;

		pinctrl-names = "on_i2c";
		pinctrl-0 = <&hs_i2c0_bus>;

		fimc-is-3p8sp@10{
			compatible = "samsung,exynos5-fimc-is-cis-3p8sp";
			reg = <0x10>; /* 1 bit right shift */
			id = <1>; /* matching sensor id */
			sensor_f_number = <190>; /* f number 1.9 */
			setfile = "setB";
			use_initial_ae; /* for initial AE of face unlock */
		};
	};
	hsi2c_3: hsi2c@138D0000 {
		gpios = <&gpc1 6 0 &gpc1 7 0>;
		status = "okay";
		clock-frequency = <400000>;
		samsung,scl-extended-low-period;

		pinctrl-names = "default";
		pinctrl-0 = <&hs_i2c3_bus>;

		fimc_is_eeprom_i2c@A2 {
			compatible = "samsung,front-eeprom-i2c";
			reg = <0x51>;
		};
	};

	abox_gic: abox_gic@0x14AF0000 {
		status = "okay";
	};

	i2c_3: i2c@13860000 {
		status = "okay";
		tfa98xx: tfa98xx@34 {
			compatible = "nxp,tfa98xx";
			#sound-dai-cells = <1>;
			reg = <0x34>;
		};
	};

	abox: abox@0x14A50000 {
		status = "okay";

		/delete-property/ pinctrl-0;
		/delete-property/ pinctrl-1;

		pinctrl-0 = <&aud_codec_mclk &aud_codec_bus &aud_fm_bus &aud_spk_bus &aud_loopback_bus>;
		pinctrl-1 = <&aud_codec_mclk_idle &aud_codec_bus_idle &aud_fm_bus_idle &aud_spk_bus_idle &aud_loopback_bus_idle>;

		abox_synchronized_ipc: abox_synchronized_ipc {
			compatible = "samsung,abox-synchronized-ipc";
			#sound-dai-cells = <1>;
			abox = <&abox>;
		};
	};

	dummy_audio_codec: audio_codec_dummy {
		status = "okay";
		compatible = "snd-soc-dummy";
		#sound-dai-cells = <1>;
	};

	sound {
		status = "okay";
		compatible = "samsung,exynos7885-cod3035";
		mic-bias-mode = <1 1 2 0>;
		clock-names = "xclkout";
		samsung,codec = <&abox>;

		samsung,routing =  "VOUTPUT", "ABOX UAIF0 Playback",
				 "VOUTPUTCALL", "ABOX UAIF2 Playback",
				 "ABOX UAIF2 Capture", "VINPUTCALL",
				 "ABOX SPEEDY Capture", "VINPUTFM",
				 // "SPK", "ABOX UAIF3 Playback",
				 // "ABOX UAIF3 Capture", "VI";
				 "SPK", "AIF Playback-8-34",
				 "AIF Playback-8-34", "ABOX UAIF3 Playback",
				 "ABOX UAIF3 Capture", "AIF Capture-8-34";

		rdma@0 {
			cpu {
				sound-dai = <&abox 0>;
			};
			codec {
				sound-dai = <&dummy_audio_codec>;
			};
		};
		rdma@1 {
			cpu {
				sound-dai = <&abox 1>;
			};
			codec {
				sound-dai = <&dummy_audio_codec>;
			};
		};
		rdma@2 {
			cpu {
				sound-dai = <&abox 2>;
			};
			codec {
				sound-dai = <&dummy_audio_codec>;
			};
		};
		rdma@3 {
			cpu {
				sound-dai = <&abox 3>;
			};
			codec {
				sound-dai = <&dummy_audio_codec>;
			};
		};
		rdma@4 {
			cpu {
				sound-dai = <&abox 4>;
			};
			codec {
				sound-dai = <&dummy_audio_codec>;
			};
		};
		rdma@5 {
			cpu {
				sound-dai = <&abox 5>;
			};
			codec {
				sound-dai = <&dummy_audio_codec>;
			};
		};
		rdma@6 {
			cpu {
				sound-dai = <&abox 6>;
			};
			codec {
				sound-dai = <&dummy_audio_codec>;
			};
		};
		rdma@7 {
			cpu {
				sound-dai = <&abox 7>;
			};
			codec {
				sound-dai = <&dummy_audio_codec>;
			};
		};
		wdma@0 {
			cpu {
				sound-dai = <&abox 8>;
			};
			codec {
				sound-dai = <&dummy_audio_codec>;
			};
		};
		wdma@1 {
			cpu {
				sound-dai = <&abox 9>;
			};
			codec {
				sound-dai = <&dummy_audio_codec>;
			};
		};
		wdma@2 {
			cpu {
				sound-dai = <&abox 10>;
			};
			codec {
				sound-dai = <&dummy_audio_codec>;
			};
		};
		wdma@3 {
			cpu {
				sound-dai = <&abox 11>;
			};
			codec {
				sound-dai = <&dummy_audio_codec>;
			};
		};
		wdma@4 {
			cpu {
				sound-dai = <&abox 12>;
			};
			codec {
				sound-dai = <&dummy_audio_codec>;
			};
		};
		uaif@0 {
			cpu {
				sound-dai = <&abox 13>;
			};
			codec {
				sound-dai = <&audio_codec_cod3035x>;
			};
		};
		uaif@1 {
			cpu {
				sound-dai = <&abox 14>;
			};
			codec {
				sound-dai = <&dummy_audio_codec>;
			};
		};
		uaif@2 {
			cpu {
				sound-dai = <&abox 15>;
			};
			codec {
				sound-dai = <&dummy_audio_codec>;
			};
		};
		uaif@3 {
			cpu {
				sound-dai = <&abox 16>;
			};
			platform {
				sound-dai = <&abox_synchronized_ipc 0>;
			};
			codec {
				sound-dai = <&tfa98xx 0>;
			};
		};
		internal@0 {
			cpu {
				sound-dai = <&abox 17>;
			};
			codec {
				sound-dai = <&dummy_audio_codec>;
			};
		};
		speedy@0 {
			cpu {
				sound-dai = <&abox 18>;
			};
			codec {
				sound-dai = <&dummy_audio_codec>;
			};
		};
	};

	pinctrl@11CB0000 {
		nfc_int: nfc-int {
			samsung,pins = "gpa1-0";
			samsung,pin-function = <0>;
			samsung,pin-pud = <1>;
		};

		nfc_clk: nfc-clk {
			samsung,pins = "gpq0-0";
			samsung,pin-function = <2>;
			samsung,pin-pud = <0>;
		};
	};

	pinctrl@139B0000 {
		nfc_pvdd_en: nfc_pvdd_en {
				samsung,pins = "gpp6-4";
				samsung,pin-function = <1>;
				samsung,pin-pud = <0>;
				samsung,pin-val = <0>;
				samsung,pin-con-pdn = <3>;
				samsung,pin-pud-pdn = <0>;
		};

		nfc_firm: nfc_firm {
			samsung,pins = "gpp3-2";
			samsung,pin-function = <1>;
			samsung,pin-pud = <0>;
			samsung,pin-val = <0>;
			samsung,pin-con-pdn = <3>;
			samsung,pin-pud-pdn = <0>;
		};

		nfc_pd: nfc_pd {
			samsung,pins = "gpp2-2";
			samsung,pin-function = <2>;
			samsung,pin-pud = <0>;
			samsung,pin-drv = <0>;
			samsung,pin-con-pdn = <3>;
			samsung,pin-pud-pdn = <0>;
		};

		nfc_clk_req: nfc_clk_req {
			samsung,pins = "gpp2-3";
			samsung,pin-function = <2>;
			samsung,pin-pud = <1>;
			samsung,pin-drv = <0>;
			samsung,pin-con-pdn = <3>;
			samsung,pin-pud-pdn = <0>;
		};
	};

	hsi2c_6: hsi2c@13940000 {
		status = "okay";
		#address-cells = <1>;
		#size-cells = <0>;
		clock-frequency = <400000>;

		sec-nfc@27 {
			compatible = "sec-nfc";
			reg = <0x27>;

			interrupts = <0 0 0>;
			interrupt-parent = <&gpa1>;

			sec-nfc,nfc_pd = <&gpp2 2 0x2>;
			sec-nfc,firm-gpio = <&gpp3 2 1>;
			sec-nfc,irq-gpio = <&gpa1 0 0>;
			sec-nfc,nfc_clkreq = <&gpp2 3 0x2>;
			sec-nfc,pvdd_en = <&gpp6 4 1>;
			clkctrl-reg = <0x11C8600C>;

			pinctrl-names = "default";
			pinctrl-0 = <&nfc_pd &nfc_firm &nfc_int &nfc_clk &nfc_pvdd_en &nfc_clk_req>;
		};

	};

	pinctrl@11CB0000 {
		gyro_int: gyro_int {
			samsung,pins = "gpa0-3";
			samsung,pin-function = <0>;
			samsung,pin-pud = <0>;
			samsung,pin-drv = <0>;
		};
		prox_int: prox_int {
			samsung,pins = "gpa0-4";
			samsung,pin-function = <0>;
			samsung,pin-pud = <0>;
			samsung,pin-drv = <0>;
		};
	};

	pinctrl@139B0000 {
		sensor_en: sensor-en {
			samsung,pins = "gpg3-1";
			samsung,pin-function = <1>;
			samsung,pin-pud = <0>;
			samsung,pin-val = <1>;
			samsung,pin-drv = <0>;
		};

		prox_led_en: prox-led-en {
			samsung,pins = "gpg3-2";
			samsung,pin-function = <1>;
			samsung,pin-pud = <0>;
			samsung,pin-val = <0>;
			samsung,pin-drv = <0>;
		};
	};

	pinctrl@11CB0000 {
		hall_irq: hall-irq {
			samsung,pins = "gpa0-2";
			samsung,pin-function = <0xf>;
			samsung,pin-pud = <0>;
			samsung,pin-drv = <0>;
		};
	};

	flip_cover {
		status = "okay";
		compatible = "flip_cover";
		pinctrl-names = "default";
		pinctrl-0 = <&hall_irq>;
		hall {
			name = "hall";
			event = <0x15>;
			gpios = <&gpa0 2 0>;
		};
	};

	hsi2c_9: hsi2c@13990000 {
		status = "okay";
		#address-cells = <1>;
		#size-cells = <0>;
		clock-frequency = <400000>;
		pinctrl-names = "default";
		pinctrl-0 = <&sensor_en &hs_i2c9_bus>;

		lsm6dsl@6b {
			compatible = "st,lsm6dsl";
			reg = <0x6b>;
			gpio-controller;
			#gpio-cells = <2>;
			pinctrl-names = "default";
			pinctrl-0 = <&gyro_int>;
			interrupt-parent = <&gpa0>;
			interrupts = <3 0 0>;
			st,irq_gpio = <&gpa0 3 0>;
			st,orientation = <0 1 1 1 0 1 1 1 2>;
		};

		yas539@2e {
			compatible = "yas_magnetometer";
			reg = <0x2e>;
			yas,orientation = <0>;
			yas,softiron = <9323 374 24 4 9977 87 565 530 10521>;
			yas,softiron_sign = <2 2 0 2 2 0 2 0 2>;
		};
	};

	argos {
		compatible = "samsung,argos";
		#address-cells = <1>;
		/*  The device number should be assigned for each device, e.g. "boot_device@1" and "boot_device@2".
		 * Duplicated number is not allowed. Please refer the below example.
		 */

		/* Table Format should be
		 * <Throughput(Mbps) ARM_min ARM_max KFC_min KFC_max MIF INT Task IRQ HMP_boost>
		 * ARM_min : Big Core's minimum frequency lock. 0 means not set,
		 * ARM_max : Big Core's maximum frequency lock. 0 means not set,
		 * KFC_min : Little Core's minimum frequency lock. 0 means not set,
		 * KFC_max : Little Core's maximum frequency lock. 0 means not set,
		 * MIF : MIF frequency lock. 0 means not set,
		 * INT : INT frequency lock. 0 means not set,
		 * Task : 1 - Set task affinity lock.
		 *	0 - Not set or unlock,
		 *		Task affinity should be predefined driver's code.
		 * IRQ : 1 - Set irq affinity lock.
		 *       0 - Not set or unlock,
		 *		Task affinity should be predefined driver's code.
		 * HMP_boots : 1 - Increase hmp boosting count
		 *             0 - Decrease hmp boosting count
		 */

		 boot_device@1 {
			net_boost,label="IPC";
			net_boost,node="rmnet0 rmnet1 rmnet2 rmnet3 rmnet4 rmnet5 rmnet6 rmnet7 umts_dm0";
			net_boost,table_size = <4>;
			net_boost,table= <
				1   0 0 0 0 0 0 0 1 0
				50  0 0 1170000 0 1144000 0 0 1 0
				100 0 0 1378000 0 1539000 0 0 1 0
				150 0 0 1586000 0 1794000 0 0 1 0
				>;
		};

		boot_device@2 {
			net_boost,label="CLAT";
			net_boost,node="clat clat4 v4-rmnet0 v4-rmnet1 v4-rmnet2 v4-rmnet3 v4-rmnet4 v4-rmnet5 v4-rmnet6 v4-rmnet7";
			net_boost,table_size = <3>;
			net_boost,table= <
				20  0 0 1170000 0 1539000 0 0 0 0
				50  0 0 1378000 0 1539000 0 0 0 0
				100 0 0 1586000 0 1794000 0 0 0 0
				>;
		};

		boot_device@3 {
			net_boost,label="USB";
			net_boost,node="rndis0";
			net_boost,table_size = <1>;
			net_boost,table= < 0 0 0 0 0 0 0 0 1 0 >;
		};

		/*
		 * boot_device@9 {
		 *	net_boost,label="WIFI RX";
		 *	net_boost,node="wlan0";
		 *	net_boost,table_size = <4>;
		 *	net_boost,table= <
		 *		5  2002000 0 1690000 0 0 0 0 0 0
		 *		10 2002000 0 1690000 0 0 0 0 0 0
		 *		20 2002000 0 1690000 0 845000 400000 1 1 1
		 *		30 2002000 0 1690000 0 1352000 533000 1 1 1
		 *		>;
		 * };
		 */
	};

	cpufreq {
		domain@1 {
			max-freq = <1560000>;

			dm-constraints {
				mif-perf {
					table = < 1560000 1794000
						1352000 1352000
						1144000 1014000
						936000  546000
						728000  420000>;
				};
			};
		};
	};

	cpufreq-ufc {
		/* Ctrl Type */
		#define PM_QOS_MIN_LIMIT		0
		#define PM_QOS_MIN_WO_BOOST_LIMIT	1
		#define PM_QOS_MAX_LIMIT		2
		/* Execution Mode */
		#define	AARCH64_MODE			0
		#define AARCH32_MODE			1

		domain@0 {
			device_type = "cpufreq-userctrl";
			shared-cpus = "0-5";

			user-default-qos = <839000>;
		};

		domain@1 {
			device_type = "cpufreq-userctrl";
			shared-cpus = "6-7";

			user-default-qos = <936000>;

			min-limit {
				ctrl-type = <PM_QOS_MIN_LIMIT>;
				execution-mode = <AARCH64_MODE>;
					/* big	    lit */
				table = < 1560000  1586000
					  1352000  839000
					  1144000  839000
					   936000  839000
					   728000  839000 >;
			};

			max-limit {
				ctrl-type = <PM_QOS_MAX_LIMIT>;
				execution-mode = <AARCH64_MODE>;
					/* big	    lit */
				table = < 1560000 1586000
					  1352000 1586000
					  1144000 1352000
					   936000 1248000
					   728000 1248000 >;
			};
		};
	};

	muic {
		new_factory;
		dcd_timeout;
	};
};

